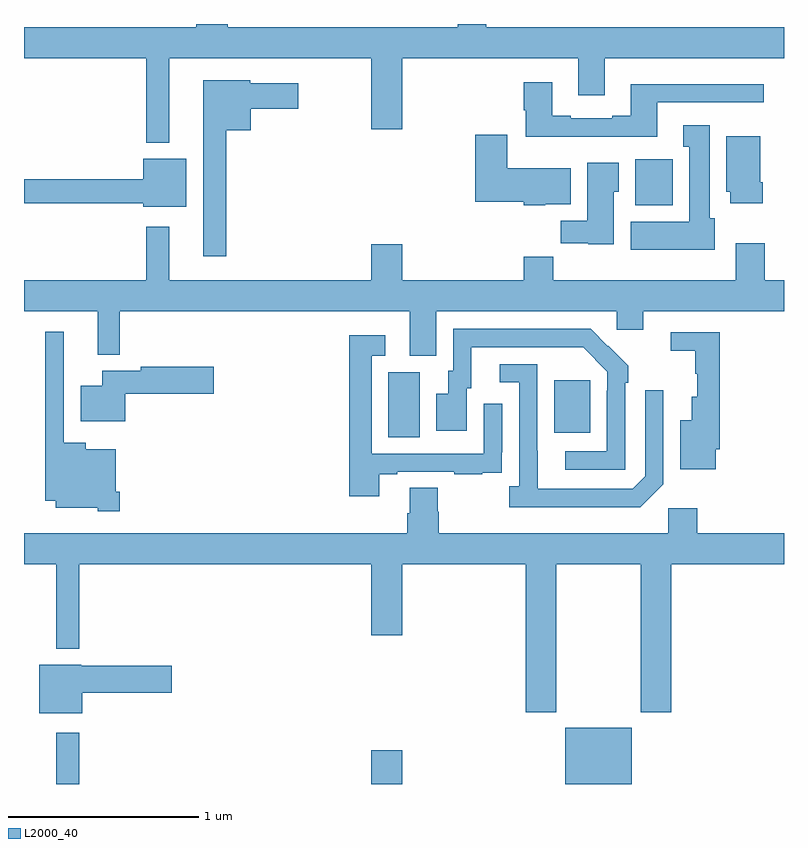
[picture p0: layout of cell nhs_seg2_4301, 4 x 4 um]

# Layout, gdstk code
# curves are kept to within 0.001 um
import gdstk
lib = gdstk.Library(unit=1e-6, precision=1e-09)
def R(c, l, rs):  # rectangles x0, y0, x1, y1
    for r in rs: c.add(gdstk.rectangle(r[:2], r[2:], *l))
def P(c, l, *ps):  # polygons
    for p in ps: c.add(gdstk.Polygon(p, *l))
L2000_40 = (2000, 40)

nhs_seg2_4301 = lib.new_cell('nhs_seg2_4301')
R(nhs_seg2_4301, L2000_40, [(343.169,659.8,343.291,660.07), (344.828,659.8,344.992,659.977), (345.848,659.8,346.198,660.097), (344.918,661.624,345.082,661.968), (345.791,661.649,345.979,661.924), (346.217,662.846,346.414,663.088)])
P(nhs_seg2_4301, L2000_40, [(343.765,663.62),(344.828,663.62),(344.828,663.246),(344.992,663.246),(344.992,663.62),(345.917,663.62),(345.917,663.426),(346.057,663.426),(346.057,663.62),(347,663.62),(347,663.784),(345.434,663.784),(345.434,663.8),(345.282,663.8),(345.282,663.784),(344.072,663.784),(344.072,663.8),(343.907,663.8),(343.907,663.784),(343,663.784),(343,663.62),(343.644,663.62),(343.644,663.176),(343.765,663.176)],
  [(344.065,663.242),(344.194,663.242),(344.194,663.353),(344.443,663.353),(344.443,663.487),(344.19,663.487),(344.19,663.505),(343.943,663.505),(343.943,662.577),(344.065,662.577)],
  [(346.333,663.387),(346.894,663.387),(346.894,663.484),(346.193,663.484),(346.193,663.316),(346.097,663.316),(346.097,663.303),(345.877,663.303),(345.877,663.316),(345.781,663.316),(345.781,663.493),(345.629,663.493),(345.629,663.345),(345.641,663.345),(345.641,663.206),(346.333,663.206)],
  [(346.636,662.778),(346.609,662.778),(346.609,663.268),(346.469,663.268),(346.469,663.155),(346.502,663.155),(346.502,662.758),(346.193,662.758),(346.193,662.612),(346.636,662.612)],
  [(345.744,662.852),(345.877,662.852),(345.877,663.04),(345.544,663.04),(345.544,663.217),(345.374,663.217),(345.374,662.864),(345.63,662.864),(345.63,662.846),(345.744,662.846)],
  [(346.889,662.968),(346.876,662.968),(346.876,663.208),(346.697,663.208),(346.697,662.916),(346.718,662.916),(346.718,662.856),(346.889,662.856)],
  [(343.855,663.091),(343.628,663.091),(343.628,662.984),(343,662.984),(343,662.856),(343.628,662.856),(343.628,662.837),(343.855,662.837)],
  [(346.105,662.916),(346.129,662.916),(346.129,663.07),(345.965,663.07),(345.965,662.764),(345.826,662.764),(345.826,662.646),(345.969,662.646),(345.969,662.642),(346.105,662.642)],
  [(345.169,662.288),(346.119,662.288),(346.119,662.19),(346.258,662.19),(346.258,662.288),(347,662.288),(347,662.452),(346.898,662.452),(346.898,662.647),(346.745,662.647),(346.745,662.452),(345.785,662.452),(345.785,662.576),(345.629,662.576),(345.629,662.452),(344.992,662.452),(344.992,662.641),(344.828,662.641),(344.828,662.452),(343.765,662.452),(343.765,662.734),(343.644,662.734),(343.644,662.452),(343,662.452),(343,662.288),(343.388,662.288),(343.388,662.06),(343.505,662.06),(343.505,662.288),(345.029,662.288),(345.029,662.053),(345.169,662.053)],
  [(346.164,661.913),(346.179,661.913),(346.179,662.001),(345.982,662.196),(345.258,662.196),(345.258,661.974),(345.233,661.974),(345.233,661.855),(345.17,661.855),(345.17,661.659),(345.331,661.659),(345.331,661.884),(345.355,661.884),(345.355,662.1),(345.943,662.1),(346.071,661.971),(346.071,661.871),(346.068,661.871),(346.068,661.551),(345.849,661.551),(345.849,661.455),(346.164,661.455)],
  [(343.505,661.339),(343.483,661.339),(343.483,661.561),(343.324,661.561),(343.324,661.597),(343.209,661.597),(343.209,662.179),(343.112,662.179),(343.112,661.292),(343.166,661.292),(343.166,661.253),(343.389,661.253),(343.389,661.235),(343.505,661.235)],
  [(346.642,661.561),(346.661,661.561),(346.661,662.178),(346.404,662.178),(346.404,662.08),(346.533,662.08),(346.533,661.959),(346.544,661.959),(346.544,661.837),(346.514,661.837),(346.514,661.714),(346.454,661.714),(346.454,661.457),(346.642,661.457)],
  [(344.869,661.431),(344.965,661.431),(344.965,661.443),(345.265,661.443),(345.265,661.431),(345.413,661.431),(345.413,661.437),(345.515,661.437),(345.515,661.546),(345.516,661.546),(345.516,661.801),(345.42,661.801),(345.42,661.539),(344.829,661.539),(344.829,662.055),(344.902,662.055),(344.902,662.161),(344.713,662.161),(344.713,661.314),(344.869,661.314)],
  [(346.365,661.377),(346.365,661.873),(346.269,661.873),(346.269,661.419),(346.203,661.353),(345.703,661.353),(345.702,662.01),(345.504,662.01),(345.504,661.914),(345.606,661.914),(345.606,661.366),(345.555,661.366),(345.555,661.256),(346.244,661.256)],
  [(343.534,661.853),(343.999,661.853),(343.999,661.995),(343.614,661.995),(343.614,661.975),(343.412,661.975),(343.412,661.897),(343.298,661.897),(343.298,661.709),(343.534,661.709)],
  [(343,660.956),(343.169,660.956),(343.169,660.512),(343.291,660.512),(343.291,660.956),(344.828,660.956),(344.828,660.582),(344.992,660.582),(344.992,660.956),(345.641,660.956),(345.641,660.177),(345.801,660.177),(345.801,660.956),(346.246,660.956),(346.246,660.177),(346.406,660.177),(346.406,660.956),(347,660.956),(347,661.12),(346.544,661.12),(346.544,661.252),(346.392,661.252),(346.392,661.12),(345.182,661.12),(345.182,661.233),(345.177,661.233),(345.177,661.358),(345.029,661.358),(345.029,661.226),(345.017,661.226),(345.017,661.12),(343,661.12)],
  [(343.306,660.28),(343.777,660.28),(343.777,660.422),(343.302,660.422),(343.302,660.427),(343.079,660.427),(343.079,660.173),(343.306,660.173)])

lib.write_gds('nhs_seg2_4301.gds')
